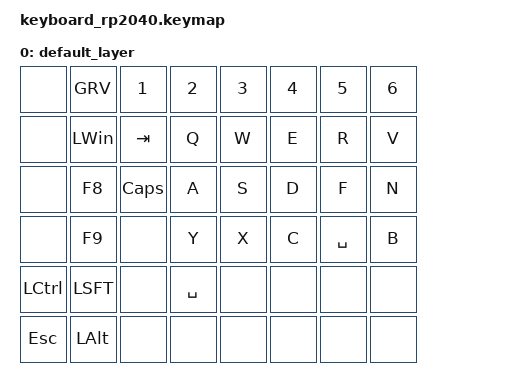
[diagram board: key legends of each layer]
/*
 * Copyright (c) 2020 The ZMK Contributors
 *
 * SPDX-License-Identifier: MIT
 */

#include <behaviors.dtsi>
#include <dt-bindings/zmk/keys.h>
#include <dt-bindings/zmk/bt.h>

/ {
        keymap {
                compatible = "zmk,keymap";

                default_layer {
// -----------------------------------------------------------------------------------------
// |  TAB |  Q  |  W  |  E  |  R  |  T  |   |  Z  |  U   |  I  |  O  |  P  | BSPC |
// | CTRL |  A  |  S  |  D  |  F  |  G  |   |  H  |  J   |  K  |  L  |  ;  |  '   |
// | SHFT |  Y  |  X  |  C  |  V  |  B  |   |  N  |  M   |  ,  |  .  |  /  | ESC  |
//                    | GUI | LWR | SPC |   | ENT | RSE  | ALT |
                        bindings = <
                &none &kp GRV  &kp 1    &kp 2    &kp 3    &kp 4    &kp 5    &kp 6
                &none &kp LWIN &kp TAB  &kp Q    &kp W    &kp E    &kp R    &kp V
                &none &kp F8   &kp CAPS &kp A    &kp S    &kp D    &kp F    &kp N
                &none &kp F9   &none    &kp Y    &kp X    &kp C    &kp SPC  &kp B
                &kp LCTL &kp LSFT &none &kp SPC  &none    &none    &none    &none
                &kp ESC  &kp LALT &none  &none    &none    &none    &none    &none
                        >;
                };
                
        };
};
